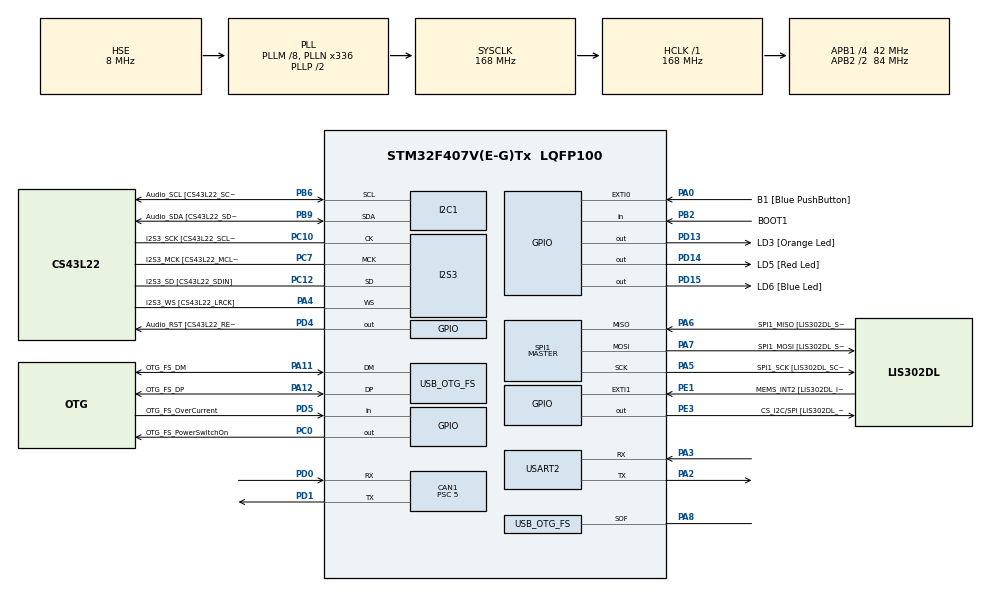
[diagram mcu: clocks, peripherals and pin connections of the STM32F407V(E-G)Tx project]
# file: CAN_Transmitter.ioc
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CAN1.ABOM=ENABLE
CAN1.BS1=CAN_BS1_13TQ
CAN1.BS2=CAN_BS2_2TQ
CAN1.CalculateBaudRate=525000
CAN1.CalculateTimeBit=1904
CAN1.CalculateTimeQuantum=119.04761904761905
CAN1.NART=ENABLE
CAN1.Prescaler=5
I2S3.AudioFreq-Half_Duplex_Master=I2S_AUDIOFREQ_96K
I2S3.ErrorAudioFreq=-2.34 %
I2S3.ErrorAudioFreq-Half_Duplex_Master=0.8 %
I2S3.FullDuplexMode=I2S_FULLDUPLEXMODE_DISABLE
I2S3.Instance=SPI$Index
I2S3.RealAudioFreq=93.75 KHz
I2S3.RealAudioFreq-Half_Duplex_Master=96.774 KHz
I2S3.VirtualMode=I2S_MODE_MASTER
Mcu.Family=STM32F4
Mcu.Name=STM32F407V(E-G)Tx
Mcu.Package=LQFP100
NVIC.CAN1_RX0_IRQn=true\:0\:0\:false\:false\:true\:true\:true\:true
NVIC.OTG_FS_IRQn=true\:0\:0\:false\:false\:true\:true\:true\:true
NVIC.PriorityGroup=NVIC_PRIORITYGROUP_0
NVIC.USART2_IRQn=true\:0\:0\:false\:false\:true\:true\:true\:true
PA0-WKUP.GPIO_Label=B1 [Blue PushButton]
PA0-WKUP.GPIO_ModeDefaultEXTI=GPIO_MODE_EVT_RISING
PA0-WKUP.GPIO_PuPd=GPIO_NOPULL
PA0-WKUP.Signal=GPXTI0
PA10.GPIO_Label=OTG_FS_ID
PA10.GPIO_Mode=GPIO_MODE_AF_PP
PA10.GPIO_PuPd=GPIO_NOPULL
PA10.GPIO_Speed=GPIO_SPEED_FREQ_LOW
PA10.Signal=USB_OTG_FS_ID
PA11.GPIO_Label=OTG_FS_DM
PA11.GPIO_Mode=GPIO_MODE_AF_PP
PA11.GPIO_PuPd=GPIO_NOPULL
PA11.GPIO_Speed=GPIO_SPEED_FREQ_LOW
PA11.Mode=Device_Only
PA11.Signal=USB_OTG_FS_DM
PA12.GPIO_Label=OTG_FS_DP
PA12.GPIO_Mode=GPIO_MODE_AF_PP
PA12.GPIO_PuPd=GPIO_NOPULL
PA12.GPIO_Speed=GPIO_SPEED_FREQ_LOW
PA12.Mode=Device_Only
PA12.Signal=USB_OTG_FS_DP
PA13.GPIO_Label=SWDIO
PA13.Mode=Serial_Wire
PA13.Signal=SYS_JTMS-SWDIO
PA14.GPIO_Label=SWCLK
PA14.Mode=Serial_Wire
PA14.Signal=SYS_JTCK-SWCLK
PA2.Mode=Asynchronous
PA2.Signal=USART2_TX
PA3.Mode=Asynchronous
PA3.Signal=USART2_RX
PA4.GPIO_Label=I2S3_WS [CS43L22_LRCK]
PA4.GPIO_Mode=GPIO_MODE_AF_PP
PA4.GPIO_PuPd=GPIO_NOPULL
PA4.GPIO_Speed=GPIO_SPEED_FREQ_LOW
PA4.Mode=Half_Duplex_Master
PA4.Signal=I2S3_WS
PA5.GPIO_Label=SPI1_SCK [LIS302DL_SCL/SPC]
PA5.GPIO_Mode=GPIO_MODE_AF_PP
PA5.GPIO_PuPd=GPIO_NOPULL
PA5.GPIO_Speed=GPIO_SPEED_FREQ_LOW
PA5.Mode=Full_Duplex_Master
PA5.Signal=SPI1_SCK
PA6.GPIO_Label=SPI1_MISO [LIS302DL_SDO]
PA6.GPIO_Mode=GPIO_MODE_AF_PP
PA6.GPIO_PuPd=GPIO_NOPULL
PA6.GPIO_Speed=GPIO_SPEED_FREQ_LOW
PA6.Mode=Full_Duplex_Master
PA6.Signal=SPI1_MISO
PA7.GPIO_Label=SPI1_MOSI [LIS302DL_SDA/SDI/SDO]
PA7.GPIO_Mode=GPIO_MODE_AF_PP
PA7.GPIO_PuPd=GPIO_NOPULL
PA7.GPIO_Speed=GPIO_SPEED_FREQ_LOW
PA7.Mode=Full_Duplex_Master
PA7.Signal=SPI1_MOSI
PA8.Mode=Activate_SOF_FS
PA8.Signal=USB_OTG_FS_SOF
PA9.GPIO_Label=VBUS_FS
PA9.GPIO_Mode=GPIO_MODE_INPUT
PA9.GPIO_PuPd=GPIO_NOPULL
PA9.Signal=USB_OTG_FS_VBUS
PB10.GPIO_Label=CLK_IN [MP45DT02_CLK]
PB10.GPIO_Mode=GPIO_MODE_AF_PP
PB10.GPIO_PuPd=GPIO_NOPULL
PB10.GPIO_Speed=GPIO_SPEED_FREQ_LOW
PB10.Signal=I2S2_CK
PB2.GPIO_Label=BOOT1
PB2.GPIO_Mode=GPIO_MODE_INPUT
PB2.GPIO_PuPd=GPIO_NOPULL
PB2.Signal=GPIO_Input
PB3.GPIO_Label=SWO
PB3.Signal=SYS_JTDO-SWO
PB6.GPIO_Label=Audio_SCL [CS43L22_SCL]
PB6.GPIO_Mode=GPIO_MODE_AF_OD
PB6.GPIO_Pu=GPIO_PULLUP
PB6.GPIO_PuPd=GPIO_NOPULL
PB6.GPIO_Speed=GPIO_SPEED_FREQ_LOW
PB6.Mode=I2C
PB6.Signal=I2C1_SCL
PB9.GPIO_Label=Audio_SDA [CS43L22_SDA]
PB9.GPIO_Mode=GPIO_MODE_AF_OD
PB9.GPIO_Pu=GPIO_PULLUP
PB9.GPIO_PuPd=GPIO_NOPULL
PB9.GPIO_Speed=GPIO_SPEED_FREQ_LOW
PB9.Mode=I2C
PB9.Signal=I2C1_SDA
PC0.GPIO_Label=OTG_FS_PowerSwitchOn
PC0.GPIO_PuPd=GPIO_NOPULL
PC0.GPIO_Speed=GPIO_SPEED_FREQ_LOW
PC0.PinState=GPIO_PIN_SET
PC0.Signal=GPIO_Output
PC10.GPIO_Label=I2S3_SCK [CS43L22_SCLK]
PC10.GPIO_Mode=GPIO_MODE_AF_PP
PC10.GPIO_PuPd=GPIO_NOPULL
PC10.GPIO_Speed=GPIO_SPEED_FREQ_LOW
PC10.Mode=Half_Duplex_Master
PC10.Signal=I2S3_CK
PC12.GPIO_Label=I2S3_SD [CS43L22_SDIN]
PC12.GPIO_Mode=GPIO_MODE_AF_PP
PC12.GPIO_PuPd=GPIO_NOPULL
PC12.GPIO_Speed=GPIO_SPEED_FREQ_LOW
PC12.Mode=Half_Duplex_Master
PC12.Signal=I2S3_SD
PC14-OSC32_IN.GPIO_Label=PC14-OSC32_IN
PC14-OSC32_IN.Mode=LSE-External-Oscillator
PC14-OSC32_IN.Signal=RCC_OSC32_IN
PC15-OSC32_OUT.GPIO_Label=PC15-OSC32_OUT
PC15-OSC32_OUT.Mode=LSE-External-Oscillator
PC15-OSC32_OUT.Signal=RCC_OSC32_OUT
PC3.GPIO_Label=PDM_OUT [MP45DT02_DOUT]
PC3.GPIO_Mode=GPIO_MODE_AF_PP
PC3.GPIO_PuPd=GPIO_NOPULL
PC3.GPIO_Speed=GPIO_SPEED_FREQ_LOW
PC3.Signal=I2S2_SD
PC7.GPIO_Label=I2S3_MCK [CS43L22_MCLK]
PC7.GPIO_Mode=GPIO_MODE_AF_PP
PC7.GPIO_PuPd=GPIO_NOPULL
PC7.GPIO_Speed=GPIO_SPEED_FREQ_LOW
PC7.Mode=Master_Clock_Activated
PC7.Signal=I2S3_MCK
PD0.Mode=CAN_Activate
PD0.Signal=CAN1_RX
PD1.Mode=CAN_Activate
PD1.Signal=CAN1_TX
PD13.GPIO_Label=LD3 [Orange Led]
PD13.GPIO_PuPd=GPIO_NOPULL
PD13.GPIO_Speed=GPIO_SPEED_FREQ_LOW
PD13.Signal=GPIO_Output
PD14.GPIO_Label=LD5 [Red Led]
PD14.GPIO_PuPd=GPIO_NOPULL
PD14.GPIO_Speed=GPIO_SPEED_FREQ_LOW
PD14.Signal=GPIO_Output
PD15.GPIO_Label=LD6 [Blue Led]
PD15.GPIO_PuPd=GPIO_NOPULL
PD15.GPIO_Speed=GPIO_SPEED_FREQ_LOW
PD15.Signal=GPIO_Output
PD4.GPIO_Label=Audio_RST [CS43L22_RESET]
PD4.GPIO_PuPd=GPIO_NOPULL
PD4.GPIO_Speed=GPIO_SPEED_FREQ_LOW
PD4.Signal=GPIO_Output
PD5.GPIO_Label=OTG_FS_OverCurrent
PD5.GPIO_Mode=GPIO_MODE_INPUT
PD5.GPIO_PuPd=GPIO_NOPULL
PD5.Signal=GPIO_Input
PE1.GPIO_Label=MEMS_INT2 [LIS302DL_INT2]
PE1.GPIO_ModeDefaultEXTI=GPIO_MODE_EVT_RISING
PE1.GPIO_PuPd=GPIO_NOPULL
PE1.Signal=GPXTI1
PE3.GPIO_Label=CS_I2C/SPI [LIS302DL_CS_I2C/SPI]
PE3.GPIO_PuPd=GPIO_NOPULL
PE3.GPIO_Speed=GPIO_SPEED_FREQ_LOW
PE3.Signal=GPIO_Output
PH0-OSC_IN.GPIO_Label=PH0-OSC_IN
PH0-OSC_IN.Mode=HSE-External-Oscillator
PH0-OSC_IN.Signal=RCC_OSC_IN
PH1-OSC_OUT.GPIO_Label=PH1-OSC_OUT
PH1-OSC_OUT.Mode=HSE-External-Oscillator
PH1-OSC_OUT.Signal=RCC_OSC_OUT
ProjectManager.HeapSize=0x200
ProjectManager.StackSize=0x400
ProjectManager.TargetToolchain=STM32CubeIDE
RCC.48MHZClocksFreq_Value=48000000
RCC.AHBFreq_Value=168000000
RCC.APB1CLKDivider=RCC_HCLK_DIV4
RCC.APB1Freq_Value=42000000
RCC.APB1TimFreq_Value=84000000
RCC.APB2CLKDivider=RCC_HCLK_DIV2
RCC.APB2Freq_Value=84000000
RCC.APB2TimFreq_Value=168000000
RCC.CortexFreq_Value=168000000
RCC.HCLKFreq_Value=168000000
RCC.HSE_VALUE=8000000
RCC.HSI_VALUE=16000000
RCC.PLLM=8
RCC.PLLN=336
RCC.PLLQ=7
RCC.SYSCLKFreq_VALUE=168000000
RCC.SYSCLKSource=RCC_SYSCLKSOURCE_PLLCLK
RCC.VCOOutputFreq_Value=336000000
SPI1.BaudRatePrescaler-Full_Duplex_Master=SPI_BAUDRATEPRESCALER_2
SPI1.CalculateBaudRate-Full_Duplex_Master=42.0 MBits/s
SPI1.Direction=SPI_DIRECTION_2LINES
SPI1.Mode=SPI_MODE_MASTER
SPI1.Mode-Full_Duplex_Master=SPI_MODE_MASTER
SPI1.VirtualType=VM_MASTER
USART2.VirtualMode=VM_ASYNC
USB_DEVICE.CLASS_NAME_FS=CDC
USB_DEVICE.VirtualMode-CDC_FS=Cdc
USB_DEVICE.VirtualModeFS=Cdc_FS
USB_OTG_FS.VirtualMode=Device_Only
VP_USB_DEVICE_VS_USB_DEVICE_CDC_FS.Mode=CDC_FS
board=STM32F407G-DISC1

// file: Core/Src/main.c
/* USER CODE BEGIN Header */
/**
  ******************************************************************************
  * @file           : main.c
  * @brief          : Main program body
  ******************************************************************************
  * @attention
  *
  * Copyright (c) 2025 STMicroelectronics.
  * All rights reserved.
  *
  * This software is licensed under terms that can be found in the LICENSE file
  * in the root directory of this software component.
  * If no LICENSE file comes with this software, it is provided AS-IS.
  *
  ******************************************************************************
  */
/* USER CODE END Header */
#include "main.h"
#include "usb_device.h"
#include "usbd_cdc_if.h"
#include <stdio.h>
#include <string.h>

CAN_HandleTypeDef hcan1;

I2C_HandleTypeDef hi2c1;

I2S_HandleTypeDef hi2s3;

SPI_HandleTypeDef hspi1;

UART_HandleTypeDef huart2;

/* USER CODE BEGIN PV */
CAN_TxHeaderTypeDef TxHeader;
uint8_t TxData[8];
uint32_t TxMailbox;
char usb_msg[64];
/* USER CODE END PV */

/* USER CODE BEGIN PFP */
void SystemClock_Config(void);
void MX_GPIO_Init(void);
 void MX_I2C1_Init(void);
void MX_I2S3_Init(void);
void MX_SPI1_Init(void);
void MX_CAN1_Init(void);
void MX_USART2_UART_Init(void);
/* USER CODE END PFP */

int main(void)
{

  /* MCU Configuration--------------------------------------------------------*/

  /* Reset of all peripherals, Initializes the Flash interface and the Systick. */
  HAL_Init();

  /* Configure the system clock */
  SystemClock_Config();

  /* Initialize all configured peripherals */
  MX_GPIO_Init();
  MX_I2C1_Init();
  MX_I2S3_Init();
  MX_SPI1_Init();
  MX_CAN1_Init();
  MX_USART2_UART_Init();
  MX_USB_DEVICE_Init();
  /* USER CODE BEGIN 2 */
  HAL_CAN_Start(&hcan1);

  // Setup CAN Tx header
  TxHeader.DLC = 8;
  TxHeader.IDE = CAN_ID_STD;
  TxHeader.RTR = CAN_RTR_DATA;
  TxHeader.StdId = 0x100;

  // Send USB info message
  // USB message at start
     const char start_msg[] = "CAN Transmitter Ready\r\n";
     CDC_Transmit_FS((uint8_t*)start_msg, strlen(start_msg));

     uint16_t speed = 0;
     uint16_t rpm   = 0;
     uint8_t  fuel  = 100;
     int16_t  temp  = 20;
     uint32_t counter = 0;

  /* Infinite loop */
  /* USER CODE BEGIN WHILE */
     while(1)
         {

    	 speed = (speed + 10) % 200;
    	 rpm   = (rpm + 50) % 8000;
    	 fuel = (fuel > 0) ? fuel - 1 : 100;
    	 temp  = 20 + (counter % 100) / 2;

             TxHeader.StdId = 0x200;
             TxData[0] = (uint8_t)(speed >> 8);
             TxData[1] = (uint8_t)(speed & 0xFF);
             HAL_CAN_AddTxMessage(&hcan1, &TxHeader, TxData, &TxMailbox);

             TxHeader.StdId = 0x201;
             TxData[0] = (uint8_t)(rpm >> 8);
             TxData[1] = (uint8_t)(rpm & 0xFF);
             HAL_CAN_AddTxMessage(&hcan1, &TxHeader, TxData, &TxMailbox);

             TxHeader.StdId = 0x202;
             TxData[0] = fuel;
             HAL_CAN_AddTxMessage(&hcan1, &TxHeader, TxData, &TxMailbox);

             TxHeader.StdId = 0x203;
             TxData[0] = (uint8_t)(temp >> 8);
             TxData[1] = (uint8_t)(temp & 0xFF);
             HAL_CAN_AddTxMessage(&hcan1, &TxHeader, TxData, &TxMailbox);

             int len = sprintf(usb_msg,
                  "TX: Speed=%d RPM=%d Fuel=%d%% Temp=%d°C\r\n",
                  speed, rpm, fuel, temp);
             CDC_Transmit_FS((uint8_t*)usb_msg, len);

             counter++;
             HAL_Delay(500);
         }
     }

void SystemClock_Config(void)
{
  RCC_OscInitTypeDef RCC_OscInitStruct = {0};
  RCC_ClkInitTypeDef RCC_ClkInitStruct = {0};

  __HAL_RCC_PWR_CLK_ENABLE();
  __HAL_PWR_VOLTAGESCALING_CONFIG(PWR_REGULATOR_VOLTAGE_SCALE1);

  RCC_OscInitStruct.OscillatorType = RCC_OSCILLATORTYPE_HSE;
  RCC_OscInitStruct.HSEState = RCC_HSE_ON;
  RCC_OscInitStruct.PLL.PLLState = RCC_PLL_ON;
  RCC_OscInitStruct.PLL.PLLSource = RCC_PLLSOURCE_HSE;
  RCC_OscInitStruct.PLL.PLLM = 8;
  RCC_OscInitStruct.PLL.PLLN = 336;
  RCC_OscInitStruct.PLL.PLLP = RCC_PLLP_DIV2;
  RCC_OscInitStruct.PLL.PLLQ = 7;
  if (HAL_RCC_OscConfig(&RCC_OscInitStruct) != HAL_OK)
  {
    Error_Handler();
  }

  RCC_ClkInitStruct.ClockType = RCC_CLOCKTYPE_HCLK|RCC_CLOCKTYPE_SYSCLK
                              |RCC_CLOCKTYPE_PCLK1|RCC_CLOCKTYPE_PCLK2;
  RCC_ClkInitStruct.SYSCLKSource = RCC_SYSCLKSOURCE_PLLCLK;
  RCC_ClkInitStruct.AHBCLKDivider = RCC_SYSCLK_DIV1;
  RCC_ClkInitStruct.APB1CLKDivider = RCC_HCLK_DIV4;
  RCC_ClkInitStruct.APB2CLKDivider = RCC_HCLK_DIV2;

  if (HAL_RCC_ClockConfig(&RCC_ClkInitStruct, FLASH_LATENCY_5) != HAL_OK)
  {
    Error_Handler();
  }
}

void MX_CAN1_Init(void)
{

  hcan1.Instance = CAN1;
  hcan1.Init.Prescaler = 5;
  hcan1.Init.Mode = CAN_MODE_NORMAL;
  hcan1.Init.SyncJumpWidth = CAN_SJW_1TQ;
  hcan1.Init.TimeSeg1 = CAN_BS1_13TQ;
  hcan1.Init.TimeSeg2 = CAN_BS2_2TQ;
  hcan1.Init.TimeTriggeredMode = DISABLE;
  hcan1.Init.AutoBusOff = ENABLE;
  hcan1.Init.AutoWakeUp = DISABLE;
  hcan1.Init.AutoRetransmission = ENABLE;
  hcan1.Init.ReceiveFifoLocked = DISABLE;
  hcan1.Init.TransmitFifoPriority = DISABLE;
  if (HAL_CAN_Init(&hcan1) != HAL_OK)
  {
    Error_Handler();
  }
  /* USER CODE BEGIN CAN1_Init 2 */
  /* USER CODE BEGIN CAN1_Init 2 */
  /* USER CODE BEGIN CAN1_Init 2 */
  CAN_FilterTypeDef filter;
  filter.FilterActivation         = ENABLE;
  filter.FilterBank               = 0;
  filter.FilterFIFOAssignment     = CAN_FILTER_FIFO0;
  filter.FilterMode               = CAN_FILTERMODE_IDMASK;
  filter.FilterScale              = CAN_FILTERSCALE_32BIT;

  // To accept IDs 0x200‑0x203 inclusive, you can use a mask:
  // ID = 0x200
  filter.FilterIdHigh   = (0x200 << 5) & 0xFFFF;
  filter.FilterIdLow    = 0x0000;

  // Mask: mask bits so that only the high bits matter — if you only care
  // about the top bits, you can e.g., mask a block of 4 IDs:
  filter.FilterMaskIdHigh = (0xFFC << 5) & 0xFFFF;  // example mask
  filter.FilterMaskIdLow  = 0x0000;

  filter.SlaveStartFilterBank = 14; // if dual CAN
  HAL_CAN_ConfigFilter(&hcan1, &filter);
  /* USER CODE END CAN1_Init 2 */
  /* USER CODE END CAN1_Init 2 */
  /* USER CODE END CAN1_Init 2 */

}

 void MX_I2C1_Init(void)
{

  hi2c1.Instance = I2C1;
  hi2c1.Init.ClockSpeed = 100000;
  hi2c1.Init.DutyCycle = I2C_DUTYCYCLE_2;
  hi2c1.Init.OwnAddress1 = 0;
  hi2c1.Init.AddressingMode = I2C_ADDRESSINGMODE_7BIT;
  hi2c1.Init.DualAddressMode = I2C_DUALADDRESS_DISABLE;
  hi2c1.Init.OwnAddress2 = 0;
  hi2c1.Init.GeneralCallMode = I2C_GENERALCALL_DISABLE;
  hi2c1.Init.NoStretchMode = I2C_NOSTRETCH_DISABLE;
  if (HAL_I2C_Init(&hi2c1) != HAL_OK)
  {
    Error_Handler();
  }

}

 void MX_I2S3_Init(void)
{

  hi2s3.Instance = SPI3;
  hi2s3.Init.Mode = I2S_MODE_MASTER_TX;
  hi2s3.Init.Standard = I2S_STANDARD_PHILIPS;
  hi2s3.Init.DataFormat = I2S_DATAFORMAT_16B;
  hi2s3.Init.MCLKOutput = I2S_MCLKOUTPUT_ENABLE;
  hi2s3.Init.AudioFreq = I2S_AUDIOFREQ_96K;
  hi2s3.Init.CPOL = I2S_CPOL_LOW;
  hi2s3.Init.ClockSource = I2S_CLOCK_PLL;
  hi2s3.Init.FullDuplexMode = I2S_FULLDUPLEXMODE_DISABLE;
  if (HAL_I2S_Init(&hi2s3) != HAL_OK)
  {
    Error_Handler();
  }

}

 void MX_SPI1_Init(void)
{

  /* SPI1 parameter configuration*/
  hspi1.Instance = SPI1;
  hspi1.Init.Mode = SPI_MODE_MASTER;
  hspi1.Init.Direction = SPI_DIRECTION_2LINES;
  hspi1.Init.DataSize = SPI_DATASIZE_8BIT;
  hspi1.Init.CLKPolarity = SPI_POLARITY_LOW;
  hspi1.Init.CLKPhase = SPI_PHASE_1EDGE;
  hspi1.Init.NSS = SPI_NSS_SOFT;
  hspi1.Init.BaudRatePrescaler = SPI_BAUDRATEPRESCALER_2;
  hspi1.Init.FirstBit = SPI_FIRSTBIT_MSB;
  hspi1.Init.TIMode = SPI_TIMODE_DISABLE;
  hspi1.Init.CRCCalculation = SPI_CRCCALCULATION_DISABLE;
  hspi1.Init.CRCPolynomial = 10;
  if (HAL_SPI_Init(&hspi1) != HAL_OK)
  {
    Error_Handler();
  }

}

 void MX_USART2_UART_Init(void)
{

  huart2.Instance = USART2;
  huart2.Init.BaudRate = 115200;
  huart2.Init.WordLength = UART_WORDLENGTH_8B;
  huart2.Init.StopBits = UART_STOPBITS_1;
  huart2.Init.Parity = UART_PARITY_NONE;
  huart2.Init.Mode = UART_MODE_TX_RX;
  huart2.Init.HwFlowCtl = UART_HWCONTROL_NONE;
  huart2.Init.OverSampling = UART_OVERSAMPLING_16;
  if (HAL_UART_Init(&huart2) != HAL_OK)
  {
    Error_Handler();
  }

}

void MX_GPIO_Init(void)
{
  GPIO_InitTypeDef GPIO_InitStruct = {0};

  /* GPIO Ports Clock Enable */
  __HAL_RCC_GPIOE_CLK_ENABLE();
  __HAL_RCC_GPIOC_CLK_ENABLE();
  __HAL_RCC_GPIOH_CLK_ENABLE();
  __HAL_RCC_GPIOA_CLK_ENABLE();
  __HAL_RCC_GPIOB_CLK_ENABLE();
  __HAL_RCC_GPIOD_CLK_ENABLE();

  /*Configure GPIO pin Output Level */
  HAL_GPIO_WritePin(CS_I2C_SPI_GPIO_Port, CS_I2C_SPI_Pin, GPIO_PIN_RESET);

  /*Configure GPIO pin Output Level */
  HAL_GPIO_WritePin(OTG_FS_PowerSwitchOn_GPIO_Port, OTG_FS_PowerSwitchOn_Pin, GPIO_PIN_SET);

  /*Configure GPIO pin Output Level */
  HAL_GPIO_WritePin(GPIOD, LD3_Pin|LD5_Pin|LD6_Pin|Audio_RST_Pin, GPIO_PIN_RESET);

  /*Configure GPIO pin : CS_I2C_SPI_Pin */
  GPIO_InitStruct.Pin = CS_I2C_SPI_Pin;
  GPIO_InitStruct.Mode = GPIO_MODE_OUTPUT_PP;
  GPIO_InitStruct.Pull = GPIO_NOPULL;
  GPIO_InitStruct.Speed = GPIO_SPEED_FREQ_LOW;
  HAL_GPIO_Init(CS_I2C_SPI_GPIO_Port, &GPIO_InitStruct);

  /*Configure GPIO pin : OTG_FS_PowerSwitchOn_Pin */
  GPIO_InitStruct.Pin = OTG_FS_PowerSwitchOn_Pin;
  GPIO_InitStruct.Mode = GPIO_MODE_OUTPUT_PP;
  GPIO_InitStruct.Pull = GPIO_NOPULL;
  GPIO_InitStruct.Speed = GPIO_SPEED_FREQ_LOW;
  HAL_GPIO_Init(OTG_FS_PowerSwitchOn_GPIO_Port, &GPIO_InitStruct);

  /*Configure GPIO pin : PDM_OUT_Pin */
  GPIO_InitStruct.Pin = PDM_OUT_Pin;
  GPIO_InitStruct.Mode = GPIO_MODE_AF_PP;
  GPIO_InitStruct.Pull = GPIO_NOPULL;
  GPIO_InitStruct.Speed = GPIO_SPEED_FREQ_LOW;
  GPIO_InitStruct.Alternate = GPIO_AF5_SPI2;
  HAL_GPIO_Init(PDM_OUT_GPIO_Port, &GPIO_InitStruct);

  /*Configure GPIO pin : B1_Pin */
  GPIO_InitStruct.Pin = B1_Pin;
  GPIO_InitStruct.Mode = GPIO_MODE_EVT_RISING;
  GPIO_InitStruct.Pull = GPIO_NOPULL;
  HAL_GPIO_Init(B1_GPIO_Port, &GPIO_InitStruct);

  /*Configure GPIO pin : BOOT1_Pin */
  GPIO_InitStruct.Pin = BOOT1_Pin;
  GPIO_InitStruct.Mode = GPIO_MODE_INPUT;
  GPIO_InitStruct.Pull = GPIO_NOPULL;
  HAL_GPIO_Init(BOOT1_GPIO_Port, &GPIO_InitStruct);

  /*Configure GPIO pin : CLK_IN_Pin */
  GPIO_InitStruct.Pin = CLK_IN_Pin;
  GPIO_InitStruct.Mode = GPIO_MODE_AF_PP;
  GPIO_InitStruct.Pull = GPIO_NOPULL;
  GPIO_InitStruct.Speed = GPIO_SPEED_FREQ_LOW;
  GPIO_InitStruct.Alternate = GPIO_AF5_SPI2;
  HAL_GPIO_Init(CLK_IN_GPIO_Port, &GPIO_InitStruct);

  /*Configure GPIO pins : LD3_Pin LD5_Pin LD6_Pin Audio_RST_Pin */
  GPIO_InitStruct.Pin = LD3_Pin|LD5_Pin|LD6_Pin|Audio_RST_Pin;
  GPIO_InitStruct.Mode = GPIO_MODE_OUTPUT_PP;
  GPIO_InitStruct.Pull = GPIO_NOPULL;
  GPIO_InitStruct.Speed = GPIO_SPEED_FREQ_LOW;
  HAL_GPIO_Init(GPIOD, &GPIO_InitStruct);

  /*Configure GPIO pin : OTG_FS_OverCurrent_Pin */
  GPIO_InitStruct.Pin = OTG_FS_OverCurrent_Pin;
  GPIO_InitStruct.Mode = GPIO_MODE_INPUT;
  GPIO_InitStruct.Pull = GPIO_NOPULL;
  HAL_GPIO_Init(OTG_FS_OverCurrent_GPIO_Port, &GPIO_InitStruct);

  /*Configure GPIO pin : MEMS_INT2_Pin */
  GPIO_InitStruct.Pin = MEMS_INT2_Pin;
  GPIO_InitStruct.Mode = GPIO_MODE_EVT_RISING;
  GPIO_InitStruct.Pull = GPIO_NOPULL;
  HAL_GPIO_Init(MEMS_INT2_GPIO_Port, &GPIO_InitStruct);

/* USER CODE BEGIN MX_GPIO_Init_2 */
  /* USER CODE BEGIN MX_GPIO_Init_2 */

  /* USER CODE END MX_GPIO_Init_2 */
/* USER CODE END MX_GPIO_Init_2 */
}

/* USER CODE BEGIN 4 */
/* USER CODE BEGIN 4 */
void HAL_CAN_RxFifo0MsgPendingCallback(CAN_HandleTypeDef *hcan)
{
    if (hcan->Instance == CAN1)
    {
        CAN_RxHeaderTypeDef RxHeader; // Local RxHeader
        uint8_t RxData[8];            // Local Rx buffer
        char msg[64];                 // USB message buffer

        if(HAL_CAN_GetRxMessage(hcan, CAN_RX_FIFO0, &RxHeader, RxData) == HAL_OK)
        {
            // Forward the message immediately using a log-friendly format
            switch(RxHeader.StdId)
            {
                case 0x100: // SPEED
                    sprintf(msg, "SPEED: %d\r\n", RxData[0]);
                    HAL_GPIO_TogglePin(GPIOD, GPIO_PIN_12); // LED for SPEED
                    break;
                case 0x101: // ACCELERATION
                    sprintf(msg, "ACCEL: %d\r\n", RxData[0]);
                    HAL_GPIO_TogglePin(GPIOD, GPIO_PIN_13); // LED for ACCEL
                    break;
                case 0x102: // WARNING
                    sprintf(msg, "WARNING: %d\r\n", RxData[0]);
                    HAL_GPIO_TogglePin(GPIOD, GPIO_PIN_14); // LED for WARNING
                    break;
                case 0x103: // V2V
                    sprintf(msg, "V2V: %d\r\n", RxData[0]);
                    HAL_GPIO_TogglePin(GPIOD, GPIO_PIN_15); // LED for V2V
                    break;
                default:
                	sprintf(msg, "UNKNOWN ID: 0x%03lX\r\n", RxHeader.StdId);
                    break;
            }

            // Send the log message to external gateway
            CDC_Transmit_FS((uint8_t*)msg, strlen(msg));
        }
    }
}
/* USER CODE END 4 */

void Error_Handler(void)
{
  __disable_irq();
  while (1)
  {
  }
}
